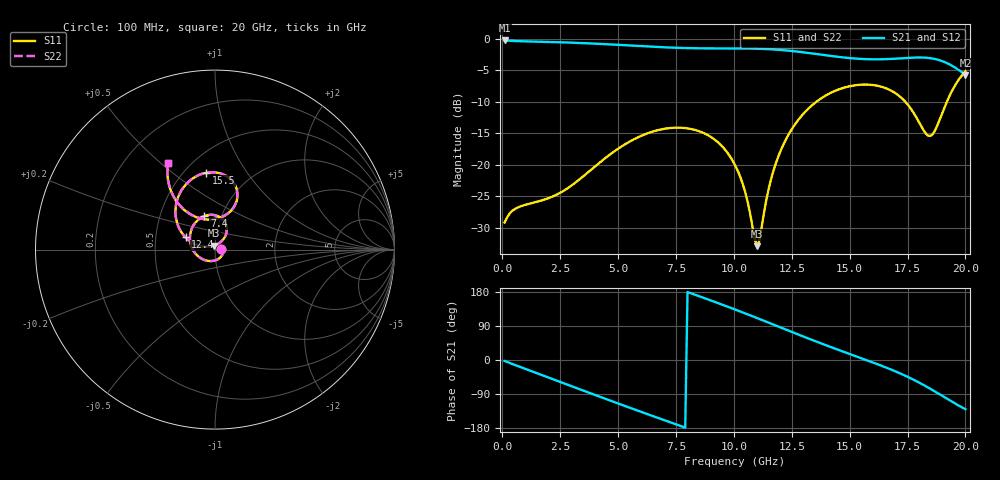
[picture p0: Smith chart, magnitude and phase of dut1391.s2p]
! Touchstone file exported from HFSS 2026.1.0
!  File:  C:/ffzhzh/LocalFiles/Ansys_Project_Files/temp_train_TSV_RDL_1391_1783349957_48288.aedt
!  Generated:  11:25:24 PM Jul  6, 2026
!  Design:  TSV_RDL
!  Project:  temp_train_TSV_RDL_1391_1783349957_48288
! Variables:
!  h_bsmrdl = 5.75um
!  h_ox = 20um
!  h_rdl = 5um
!  h_sub = 50.94um
!  h_tmrdl = 3.92um
!  h_tsv = 50.94um
!  h_via = 3um
!  l_bsmrdl = 920.8um
!  l_sub = 6892.51um
!  l_tmrdl = 906.81um
!  m_sub = 200um
!  pitch = 23.15um
!  r_tsv = 10.27um
!  s_tmrdl = 10um
!  w_bsmrdl = 21.56um
!  w_sub = 500um
!  w_tmrdl = 12.73um
!  x_tsv_center1 = 913.175um
!  x_tsv_center2 = 1855.535um
!  x_tsv_center3 = 2775.075um
!  x_tsv_center4 = 3717.435um
!  x_tsv_center5 = 4636.975um
!  x_tsv_center6 = 5579.335um
# GHz S MA R 50.000000
! Terminal data exported
! Port[1] = TM_RDL1_1_T1
! Port[2] = TM_RDL5_1_T1
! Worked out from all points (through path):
!   200 points, 100 MHz to 20 GHz, reference 50 ohm
!   highest |S21| = -0.31 dB at 100 MHz (marker M1); lowest = -5.8 dB at 20 GHz (marker M2)
!   group delay of S21, straight-line fit = 65.3 ps
!   lowest |S11| = -32.9 dB at 11 GHz (marker M3), VSWR 1.05, Z = 49.4 + j2.15 ohm
!   |S11| at or under -10 dB: start of sweep to 13.58 GHz; 17.4 GHz to 19.2 GHz (1.806 GHz wide, 9.87 % of centre)
!   |S22| runs from -32.9 to -5.2 dB; largest |S21 - S12| = 1.6e-14
!   S11 on the Smith chart (normalised r, x): 100 MHz: 1.07, +0.01; 7.4 GHz: 0.83, +0.32; 12.4 GHz: 0.71, +0.10; 15.5 GHz: 0.63, +0.67; 20 GHz: 0.38, +0.53
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0.1  0.03477 4.2  0.9655 -2.6  0.9655 -2.6  0.03477 4.2
! Gamma 0 0 0 0
! Port Impedance 50 0 50 0
0.6  0.04507 -8.7  0.9544 -14.3  0.9544 -14.3  0.04508 -8.7
2  0.05424 -64.7  0.9402 -46.4  0.9402 -46.4  0.05431 -64.7
3.5  0.08092 -133.4  0.9197 -80.8  0.9197 -80.8  0.08104 -133.3
5  0.1337 171.7  0.8911 -114.7  0.8911 -114.7  0.1338 171.8
5.9  0.166 145.3  0.8722 -134.8  0.8722 -134.8  0.1661 145.4
6.8  0.1892 121.9  0.8551 -154.5  0.8551 -154.5  0.1892 122.0
7.4  0.1961 107.4  0.8461 -167.6  0.8461 -167.6  0.1961 107.5
9  0.1661 72.0  0.835 157.3  0.835 157.3  0.1661 72.1
10.1  0.09523 52.7  0.8344 132.2  0.8344 132.2  0.09518 52.8
10.5  0.05964 51.9  0.8335 122.8  0.8335 122.8  0.0596 52.0
11  0.02257 105.0  0.8303 110.8  0.8303 110.8  0.02259 105.3
11.7  0.08808 166.4  0.8196 93.7  0.8196 93.7  0.08814 166.5
12.4  0.1779 157.4  0.8003 76.5  0.8003 76.5  0.178 157.5
13.4  0.298 137.6  0.7609 52.4  0.7609 52.4  0.298 137.7
14.4  0.3866 117.4  0.7194 29.4  0.7194 29.4  0.3866 117.5
15.5  0.4306 96.6  0.689 4.9  0.689 4.9  0.4308 96.7
16.7  0.3939 75.8  0.6878 -22.9  0.6878 -22.9  0.3942 75.9
17.6  0.2848 65.8  0.7038 -47.2  0.7038 -47.2  0.2854 66.0
18.5  0.1691 98.9  0.6981 -76.5  0.6981 -76.5  0.1704 98.8
19.1  0.2852 128.1  0.6511 -98.4  0.6511 -98.4  0.286 127.9
20  0.5499 118.5  0.5152 -129.8  0.5152 -129.8  0.5502 118.3
